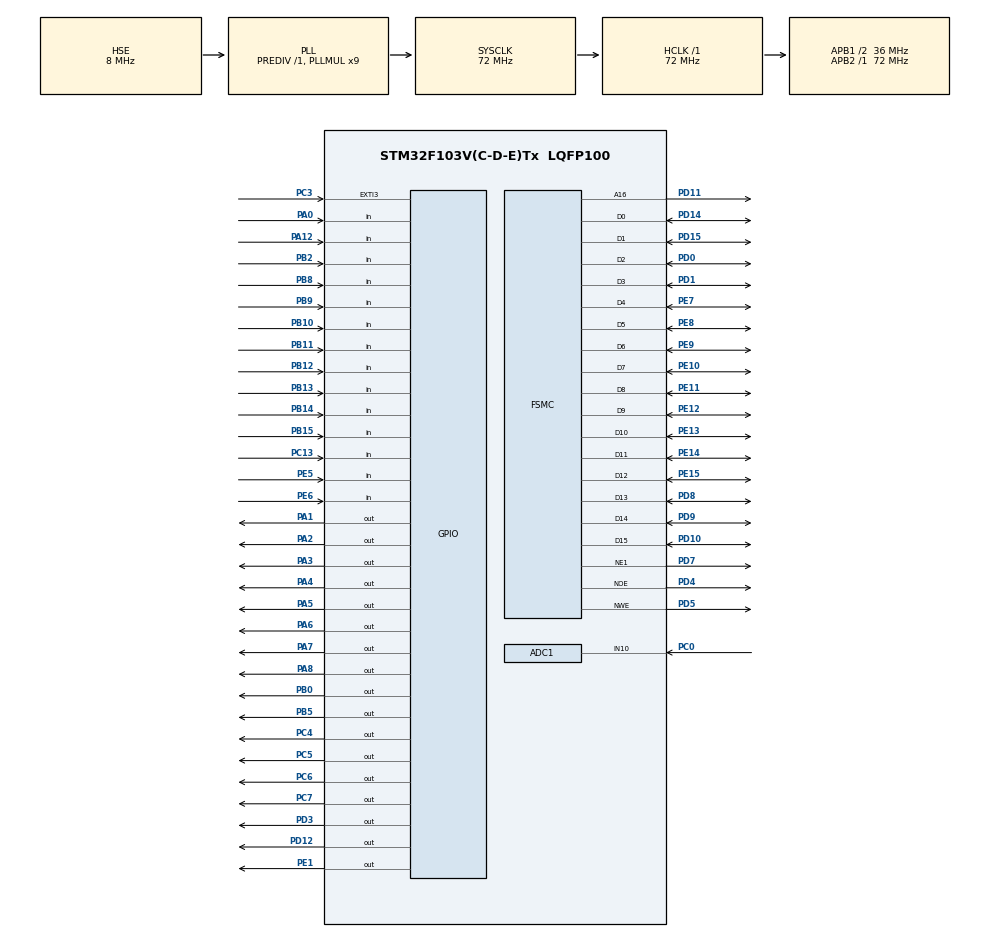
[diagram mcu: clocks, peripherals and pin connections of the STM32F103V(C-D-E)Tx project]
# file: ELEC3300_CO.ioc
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ADC1.AWD1HighThreshold=2000
ADC1.AWD1ITMode=ENABLE
ADC1.Channel-0\#ChannelRegularConversion=ADC_CHANNEL_10
ADC1.ContinuousConvMode=ENABLE
ADC1.EnableAnalogWatchDog=true
ADC1.NbrOfConversionFlag=1
ADC1.Rank-0\#ChannelRegularConversion=1
ADC1.SamplingTime-0\#ChannelRegularConversion=ADC_SAMPLETIME_55CYCLES_5
ADC1.WatchdogChannel=ADC_CHANNEL_10
ADC1.master=1
Mcu.Family=STM32F1
Mcu.Name=STM32F103V(C-D-E)Tx
Mcu.Package=LQFP100
NVIC.ADC1_2_IRQn=true\:0\:0\:false\:false\:true\:true\:true
NVIC.EXTI3_IRQn=true\:0\:0\:false\:false\:true\:true\:true
NVIC.PriorityGroup=NVIC_PRIORITYGROUP_4
OSC_IN.Mode=HSE-External-Oscillator
OSC_IN.Signal=RCC_OSC_IN
OSC_OUT.Mode=HSE-External-Oscillator
OSC_OUT.Signal=RCC_OSC_OUT
PA0-WKUP.Signal=GPIO_Input
PA1.Signal=GPIO_Output
PA12.GPIO_PuPd=GPIO_PULLUP
PA12.Signal=GPIO_Input
PA13.Mode=Serial_Wire
PA13.Signal=SYS_JTMS-SWDIO
PA14.Mode=Serial_Wire
PA14.Signal=SYS_JTCK-SWCLK
PA2.GPIO_Speed=GPIO_SPEED_FREQ_HIGH
PA2.Signal=GPIO_Output
PA3.GPIO_Speed=GPIO_SPEED_FREQ_HIGH
PA3.Signal=GPIO_Output
PA4.Signal=GPIO_Output
PA5.Signal=GPIO_Output
PA6.Signal=GPIO_Output
PA7.Signal=GPIO_Output
PA8.Signal=GPIO_Output
PB0.GPIO_Speed=GPIO_SPEED_FREQ_HIGH
PB0.Signal=GPIO_Output
PB10.Signal=GPIO_Input
PB11.Signal=GPIO_Input
PB12.Signal=GPIO_Input
PB13.Signal=GPIO_Input
PB14.Signal=GPIO_Input
PB15.Signal=GPIO_Input
PB2.GPIO_PuPd=GPIO_PULLUP
PB2.Signal=GPIO_Input
PB5.GPIO_Speed=GPIO_SPEED_FREQ_HIGH
PB5.Signal=GPIO_Output
PB8.Signal=GPIO_Input
PB9.Signal=GPIO_Input
PC0.Signal=ADCx_IN10
PC13-TAMPER-RTC.GPIO_PuPd=GPIO_NOPULL
PC13-TAMPER-RTC.Signal=GPIO_Input
PC14-OSC32_IN.Mode=LSE-External-Oscillator
PC14-OSC32_IN.Signal=RCC_OSC32_IN
PC15-OSC32_OUT.Mode=LSE-External-Oscillator
PC15-OSC32_OUT.Signal=RCC_OSC32_OUT
PC3.GPIO_ModeDefaultEXTI=GPIO_MODE_IT_FALLING
PC3.Signal=GPXTI3
PC4.GPIO_Speed=GPIO_SPEED_FREQ_HIGH
PC4.Signal=GPIO_Output
PC5.GPIO_Speed=GPIO_SPEED_FREQ_HIGH
PC5.Signal=GPIO_Output
PC6.GPIO_ModeDefaultOutputPP=GPIO_MODE_OUTPUT_OD
PC6.GPIO_PuPd=GPIO_NOPULL
PC6.GPIO_Speed=GPIO_SPEED_FREQ_HIGH
PC6.Signal=GPIO_Output
PC7.GPIO_ModeDefaultOutputPP=GPIO_MODE_OUTPUT_OD
PC7.GPIO_Speed=GPIO_SPEED_FREQ_HIGH
PC7.Signal=GPIO_Output
PD0.Mode=16b-d1
PD0.Signal=FSMC_D2
PD1.Mode=16b-d1
PD1.Signal=FSMC_D3
PD10.Mode=16b-d1
PD10.Signal=FSMC_D15
PD11.Mode=A16_1
PD11.Signal=FSMC_A16
PD12.GPIO_Speed=GPIO_SPEED_FREQ_HIGH
PD12.PinState=GPIO_PIN_RESET
PD12.Signal=GPIO_Output
PD14.Mode=16b-d1
PD14.Signal=FSMC_D0
PD15.Mode=16b-d1
PD15.Signal=FSMC_D1
PD3.GPIO_Speed=GPIO_SPEED_FREQ_HIGH
PD3.Signal=GPIO_Output
PD4.Mode=Lcd1
PD4.Signal=FSMC_NOE
PD5.Mode=Lcd1
PD5.Signal=FSMC_NWE
PD7.Mode=NorPsramChipSelect1_1
PD7.Signal=FSMC_NE1
PD8.Mode=16b-d1
PD8.Signal=FSMC_D13
PD9.Mode=16b-d1
PD9.Signal=FSMC_D14
PE1.GPIO_Speed=GPIO_SPEED_FREQ_HIGH
PE1.PinState=GPIO_PIN_RESET
PE1.Signal=GPIO_Output
PE10.Mode=16b-d1
PE10.Signal=FSMC_D7
PE11.Mode=16b-d1
PE11.Signal=FSMC_D8
PE12.Mode=16b-d1
PE12.Signal=FSMC_D9
PE13.Mode=16b-d1
PE13.Signal=FSMC_D10
PE14.Mode=16b-d1
PE14.Signal=FSMC_D11
PE15.Mode=16b-d1
PE15.Signal=FSMC_D12
PE5.GPIO_PuPd=GPIO_PULLUP
PE5.Signal=GPIO_Input
PE6.GPIO_PuPd=GPIO_PULLUP
PE6.Signal=GPIO_Input
PE7.Mode=16b-d1
PE7.Signal=FSMC_D4
PE8.Mode=16b-d1
PE8.Signal=FSMC_D5
PE9.Mode=16b-d1
PE9.Signal=FSMC_D6
ProjectManager.HeapSize=0x200
ProjectManager.StackSize=0x400
ProjectManager.TargetToolchain=MDK-ARM V5.32
RCC.ADCPresc=RCC_ADCPCLK2_DIV6
RCC.AHBFreq_Value=72000000
RCC.APB1CLKDivider=RCC_HCLK_DIV2
RCC.APB1Freq_Value=36000000
RCC.APB1TimFreq_Value=72000000
RCC.APB2Freq_Value=72000000
RCC.APB2TimFreq_Value=72000000
RCC.HCLKFreq_Value=72000000
RCC.PLLMUL=RCC_PLL_MUL9
RCC.PLLSourceVirtual=RCC_PLLSOURCE_HSE
RCC.SYSCLKFreq_VALUE=72000000
RCC.SYSCLKSource=RCC_SYSCLKSOURCE_PLLCLK
RCC.USBFreq_Value=72000000
SH.ADCx_IN10.0=ADC1_IN10,IN10
board=custom

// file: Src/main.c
/* USER CODE BEGIN Header */
/**
  ******************************************************************************
  * @file           : main.c
  * @brief          : Main program body
  ******************************************************************************
  * @attention
  *
  * <h2><center>&copy; Copyright (c) 2022 STMicroelectronics.
  * All rights reserved.</center></h2>
  *
  * This software component is licensed by ST under BSD 3-Clause license,
  * the "License"; You may not use this file except in compliance with the
  * License. You may obtain a copy of the License at:
  *                        opensource.org/licenses/BSD-3-Clause
  *
  ******************************************************************************
  */
/* USER CODE END Header */

#include "main.h"

/* USER CODE BEGIN Includes */
#include "lcd_own.h"
#include "stdio.h"
#include <math.h>
#include "string.h"
#include "own_define_functions.h"
/* USER CODE END Includes */

ADC_HandleTypeDef hadc1;

SRAM_HandleTypeDef hsram1;

void SystemClock_Config(void);
static void MX_GPIO_Init(void);
static void MX_FSMC_Init(void);
static void MX_ADC1_Init(void);
/* USER CODE BEGIN PFP */
//uint32_t air_sensor_val, co_sensor_val;
//float air_sensor_volt, co_sensor_volt;
//float RS_gas_clean, RS_gas_co;
//float R0, ratio;
//float x;
//int ppm;

/* USER CODE END PFP */

/* USER CODE BEGIN 0 */
/*void COsensor_INIT(float* R0){
	//HAL_Delay(60000); //warm up the sensor
	uint32_t air_sensor_val = HAL_ADC_GetValue(&hadc1);
	float air_sensor_volt = (float)(air_sensor_val/1024.0);
	float RS_gas_clean = ((5.0 /air_sensor_volt) - 1)*10000;
	*R0 = RS_gas_clean / 25.75;
};

int CO_ppm(float* R0){
	uint32_t co_sensor_val = HAL_ADC_GetValue(&hadc1);
	float co_sensor_volt = (float)(co_sensor_val/1024.0);
	float RS_gas_co = (5.0-co_sensor_volt)/co_sensor_volt;
	float ratio = RS_gas_co / *R0;
	float x = 44444*ratio;
	int ppm = pow(x,-1.5226)*1000;
	return ppm;
};*/
//float R0;
/* USER CODE END 0 */

int main(void)
{

  /* MCU Configuration--------------------------------------------------------*/

  /* Reset of all peripherals, Initializes the Flash interface and the Systick. */
  HAL_Init();

  /* Configure the system clock */
  SystemClock_Config();

  /* Initialize all configured peripherals */
  MX_GPIO_Init();
  MX_FSMC_Init();
  MX_ADC1_Init();
  /* USER CODE BEGIN 2 */
	LCD_INIT();
	HAL_ADCEx_Calibration_Start(&hadc1);
	HAL_ADC_Start(&hadc1);
	HAL_ADC_PollForConversion(&hadc1, 1000);

  /* USER CODE END 2 */

  /* Infinite loop */
  /* USER CODE BEGIN WHILE */
	HAL_GPIO_WritePin(GPIOB, GPIO_PIN_0,GPIO_PIN_SET); // lights off
	HAL_GPIO_WritePin(GPIOB, GPIO_PIN_5,GPIO_PIN_SET);

	HAL_Delay(3000);
	COsensor_INIT(&R0);
  while (1)
  {
		LCD_DrawString(10,100, "Ready");
		HAL_Delay(500);

    /* USER CODE END WHILE */

  }
}

void SystemClock_Config(void)
{
  RCC_OscInitTypeDef RCC_OscInitStruct = {0};
  RCC_ClkInitTypeDef RCC_ClkInitStruct = {0};
  RCC_PeriphCLKInitTypeDef PeriphClkInit = {0};

  /** Initializes the CPU, AHB and APB busses clocks
  */
  RCC_OscInitStruct.OscillatorType = RCC_OSCILLATORTYPE_HSE;
  RCC_OscInitStruct.HSEState = RCC_HSE_ON;
  RCC_OscInitStruct.HSEPredivValue = RCC_HSE_PREDIV_DIV1;
  RCC_OscInitStruct.HSIState = RCC_HSI_ON;
  RCC_OscInitStruct.PLL.PLLState = RCC_PLL_ON;
  RCC_OscInitStruct.PLL.PLLSource = RCC_PLLSOURCE_HSE;
  RCC_OscInitStruct.PLL.PLLMUL = RCC_PLL_MUL9;
  if (HAL_RCC_OscConfig(&RCC_OscInitStruct) != HAL_OK)
  {
    Error_Handler();
  }
  /** Initializes the CPU, AHB and APB busses clocks
  */
  RCC_ClkInitStruct.ClockType = RCC_CLOCKTYPE_HCLK|RCC_CLOCKTYPE_SYSCLK
                              |RCC_CLOCKTYPE_PCLK1|RCC_CLOCKTYPE_PCLK2;
  RCC_ClkInitStruct.SYSCLKSource = RCC_SYSCLKSOURCE_PLLCLK;
  RCC_ClkInitStruct.AHBCLKDivider = RCC_SYSCLK_DIV1;
  RCC_ClkInitStruct.APB1CLKDivider = RCC_HCLK_DIV2;
  RCC_ClkInitStruct.APB2CLKDivider = RCC_HCLK_DIV1;

  if (HAL_RCC_ClockConfig(&RCC_ClkInitStruct, FLASH_LATENCY_2) != HAL_OK)
  {
    Error_Handler();
  }
  PeriphClkInit.PeriphClockSelection = RCC_PERIPHCLK_ADC;
  PeriphClkInit.AdcClockSelection = RCC_ADCPCLK2_DIV6;
  if (HAL_RCCEx_PeriphCLKConfig(&PeriphClkInit) != HAL_OK)
  {
    Error_Handler();
  }
}

static void MX_ADC1_Init(void)
{

  ADC_AnalogWDGConfTypeDef AnalogWDGConfig = {0};
  ADC_ChannelConfTypeDef sConfig = {0};

  /** Common config
  */
  hadc1.Instance = ADC1;
  hadc1.Init.ScanConvMode = ADC_SCAN_DISABLE;
  hadc1.Init.ContinuousConvMode = ENABLE;
  hadc1.Init.DiscontinuousConvMode = DISABLE;
  hadc1.Init.ExternalTrigConv = ADC_SOFTWARE_START;
  hadc1.Init.DataAlign = ADC_DATAALIGN_RIGHT;
  hadc1.Init.NbrOfConversion = 1;
  if (HAL_ADC_Init(&hadc1) != HAL_OK)
  {
    Error_Handler();
  }
  /** Configure Analog WatchDog 1
  */
  AnalogWDGConfig.WatchdogMode = ADC_ANALOGWATCHDOG_SINGLE_REG;
  AnalogWDGConfig.HighThreshold = 2500;
  AnalogWDGConfig.LowThreshold = 0;
  AnalogWDGConfig.Channel = ADC_CHANNEL_10;
  AnalogWDGConfig.ITMode = ENABLE;
  if (HAL_ADC_AnalogWDGConfig(&hadc1, &AnalogWDGConfig) != HAL_OK)
  {
    Error_Handler();
  }
  /** Configure Regular Channel
  */
  sConfig.Channel = ADC_CHANNEL_10;
  sConfig.Rank = ADC_REGULAR_RANK_1;
  sConfig.SamplingTime = ADC_SAMPLETIME_55CYCLES_5;
  if (HAL_ADC_ConfigChannel(&hadc1, &sConfig) != HAL_OK)
  {
    Error_Handler();
  }

}

static void MX_GPIO_Init(void)
{
  GPIO_InitTypeDef GPIO_InitStruct = {0};

  /* GPIO Ports Clock Enable */
  __HAL_RCC_GPIOE_CLK_ENABLE();
  __HAL_RCC_GPIOC_CLK_ENABLE();
  __HAL_RCC_GPIOA_CLK_ENABLE();
  __HAL_RCC_GPIOB_CLK_ENABLE();
  __HAL_RCC_GPIOD_CLK_ENABLE();

  /*Configure GPIO pin Output Level */
  HAL_GPIO_WritePin(GPIOA, GPIO_PIN_1|GPIO_PIN_2|GPIO_PIN_3|GPIO_PIN_4
                          |GPIO_PIN_5|GPIO_PIN_6|GPIO_PIN_7|GPIO_PIN_8, GPIO_PIN_RESET);

  /*Configure GPIO pin Output Level */
  HAL_GPIO_WritePin(GPIOC, GPIO_PIN_4|GPIO_PIN_5|GPIO_PIN_6|GPIO_PIN_7, GPIO_PIN_RESET);

  /*Configure GPIO pin Output Level */
  HAL_GPIO_WritePin(GPIOB, GPIO_PIN_0|GPIO_PIN_5, GPIO_PIN_RESET);

  /*Configure GPIO pin Output Level */
  HAL_GPIO_WritePin(GPIOD, GPIO_PIN_12|GPIO_PIN_3, GPIO_PIN_RESET);

  /*Configure GPIO pin Output Level */
  HAL_GPIO_WritePin(GPIOE, GPIO_PIN_1, GPIO_PIN_RESET);

  /*Configure GPIO pins : PE5 PE6 */
  GPIO_InitStruct.Pin = GPIO_PIN_5|GPIO_PIN_6;
  GPIO_InitStruct.Mode = GPIO_MODE_INPUT;
  GPIO_InitStruct.Pull = GPIO_PULLUP;
  HAL_GPIO_Init(GPIOE, &GPIO_InitStruct);

  /*Configure GPIO pin : PC13 */
  GPIO_InitStruct.Pin = GPIO_PIN_13;
  GPIO_InitStruct.Mode = GPIO_MODE_INPUT;
  GPIO_InitStruct.Pull = GPIO_NOPULL;
  HAL_GPIO_Init(GPIOC, &GPIO_InitStruct);

  /*Configure GPIO pin : PC3 */
  GPIO_InitStruct.Pin = GPIO_PIN_3;
  GPIO_InitStruct.Mode = GPIO_MODE_IT_FALLING;
  GPIO_InitStruct.Pull = GPIO_NOPULL;
  HAL_GPIO_Init(GPIOC, &GPIO_InitStruct);

  /*Configure GPIO pin : PA0 */
  GPIO_InitStruct.Pin = GPIO_PIN_0;
  GPIO_InitStruct.Mode = GPIO_MODE_INPUT;
  GPIO_InitStruct.Pull = GPIO_NOPULL;
  HAL_GPIO_Init(GPIOA, &GPIO_InitStruct);

  /*Configure GPIO pins : PA1 PA4 PA5 PA6
                           PA7 PA8 */
  GPIO_InitStruct.Pin = GPIO_PIN_1|GPIO_PIN_4|GPIO_PIN_5|GPIO_PIN_6
                          |GPIO_PIN_7|GPIO_PIN_8;
  GPIO_InitStruct.Mode = GPIO_MODE_OUTPUT_PP;
  GPIO_InitStruct.Pull = GPIO_NOPULL;
  GPIO_InitStruct.Speed = GPIO_SPEED_FREQ_LOW;
  HAL_GPIO_Init(GPIOA, &GPIO_InitStruct);

  /*Configure GPIO pins : PA2 PA3 */
  GPIO_InitStruct.Pin = GPIO_PIN_2|GPIO_PIN_3;
  GPIO_InitStruct.Mode = GPIO_MODE_OUTPUT_PP;
  GPIO_InitStruct.Pull = GPIO_NOPULL;
  GPIO_InitStruct.Speed = GPIO_SPEED_FREQ_HIGH;
  HAL_GPIO_Init(GPIOA, &GPIO_InitStruct);

  /*Configure GPIO pins : PC4 PC5 */
  GPIO_InitStruct.Pin = GPIO_PIN_4|GPIO_PIN_5;
  GPIO_InitStruct.Mode = GPIO_MODE_OUTPUT_PP;
  GPIO_InitStruct.Pull = GPIO_NOPULL;
  GPIO_InitStruct.Speed = GPIO_SPEED_FREQ_HIGH;
  HAL_GPIO_Init(GPIOC, &GPIO_InitStruct);

  /*Configure GPIO pins : PB0 PB5 */
  GPIO_InitStruct.Pin = GPIO_PIN_0|GPIO_PIN_5;
  GPIO_InitStruct.Mode = GPIO_MODE_OUTPUT_PP;
  GPIO_InitStruct.Pull = GPIO_NOPULL;
  GPIO_InitStruct.Speed = GPIO_SPEED_FREQ_HIGH;
  HAL_GPIO_Init(GPIOB, &GPIO_InitStruct);

  /*Configure GPIO pin : PB2 */
  GPIO_InitStruct.Pin = GPIO_PIN_2;
  GPIO_InitStruct.Mode = GPIO_MODE_INPUT;
  GPIO_InitStruct.Pull = GPIO_PULLUP;
  HAL_GPIO_Init(GPIOB, &GPIO_InitStruct);

  /*Configure GPIO pins : PB10 PB11 PB12 PB13
                           PB14 PB15 PB8 PB9 */
  GPIO_InitStruct.Pin = GPIO_PIN_10|GPIO_PIN_11|GPIO_PIN_12|GPIO_PIN_13
                          |GPIO_PIN_14|GPIO_PIN_15|GPIO_PIN_8|GPIO_PIN_9;
  GPIO_InitStruct.Mode = GPIO_MODE_INPUT;
  GPIO_InitStruct.Pull = GPIO_NOPULL;
  HAL_GPIO_Init(GPIOB, &GPIO_InitStruct);

  /*Configure GPIO pins : PD12 PD3 */
  GPIO_InitStruct.Pin = GPIO_PIN_12|GPIO_PIN_3;
  GPIO_InitStruct.Mode = GPIO_MODE_OUTPUT_PP;
  GPIO_InitStruct.Pull = GPIO_NOPULL;
  GPIO_InitStruct.Speed = GPIO_SPEED_FREQ_HIGH;
  HAL_GPIO_Init(GPIOD, &GPIO_InitStruct);

  /*Configure GPIO pins : PC6 PC7 */
  GPIO_InitStruct.Pin = GPIO_PIN_6|GPIO_PIN_7;
  GPIO_InitStruct.Mode = GPIO_MODE_OUTPUT_OD;
  GPIO_InitStruct.Pull = GPIO_NOPULL;
  GPIO_InitStruct.Speed = GPIO_SPEED_FREQ_HIGH;
  HAL_GPIO_Init(GPIOC, &GPIO_InitStruct);

  /*Configure GPIO pin : PA12 */
  GPIO_InitStruct.Pin = GPIO_PIN_12;
  GPIO_InitStruct.Mode = GPIO_MODE_INPUT;
  GPIO_InitStruct.Pull = GPIO_PULLUP;
  HAL_GPIO_Init(GPIOA, &GPIO_InitStruct);

  /*Configure GPIO pin : PE1 */
  GPIO_InitStruct.Pin = GPIO_PIN_1;
  GPIO_InitStruct.Mode = GPIO_MODE_OUTPUT_PP;
  GPIO_InitStruct.Pull = GPIO_NOPULL;
  GPIO_InitStruct.Speed = GPIO_SPEED_FREQ_HIGH;
  HAL_GPIO_Init(GPIOE, &GPIO_InitStruct);

  /* EXTI interrupt init*/
  HAL_NVIC_SetPriority(EXTI3_IRQn, 0, 0);
  HAL_NVIC_EnableIRQ(EXTI3_IRQn);

}

/* FSMC initialization function */
static void MX_FSMC_Init(void)
{

  FSMC_NORSRAM_TimingTypeDef Timing = {0};

  /** Perform the SRAM1 memory initialization sequence
  */
  hsram1.Instance = FSMC_NORSRAM_DEVICE;
  hsram1.Extended = FSMC_NORSRAM_EXTENDED_DEVICE;
  /* hsram1.Init */
  hsram1.Init.NSBank = FSMC_NORSRAM_BANK1;
  hsram1.Init.DataAddressMux = FSMC_DATA_ADDRESS_MUX_DISABLE;
  hsram1.Init.MemoryType = FSMC_MEMORY_TYPE_SRAM;
  hsram1.Init.MemoryDataWidth = FSMC_NORSRAM_MEM_BUS_WIDTH_16;
  hsram1.Init.BurstAccessMode = FSMC_BURST_ACCESS_MODE_DISABLE;
  hsram1.Init.WaitSignalPolarity = FSMC_WAIT_SIGNAL_POLARITY_LOW;
  hsram1.Init.WrapMode = FSMC_WRAP_MODE_DISABLE;
  hsram1.Init.WaitSignalActive = FSMC_WAIT_TIMING_BEFORE_WS;
  hsram1.Init.WriteOperation = FSMC_WRITE_OPERATION_ENABLE;
  hsram1.Init.WaitSignal = FSMC_WAIT_SIGNAL_DISABLE;
  hsram1.Init.ExtendedMode = FSMC_EXTENDED_MODE_DISABLE;
  hsram1.Init.AsynchronousWait = FSMC_ASYNCHRONOUS_WAIT_DISABLE;
  hsram1.Init.WriteBurst = FSMC_WRITE_BURST_DISABLE;
  /* Timing */
  Timing.AddressSetupTime = 15;
  Timing.AddressHoldTime = 15;
  Timing.DataSetupTime = 255;
  Timing.BusTurnAroundDuration = 15;
  Timing.CLKDivision = 16;
  Timing.DataLatency = 17;
  Timing.AccessMode = FSMC_ACCESS_MODE_A;
  /* ExtTiming */

  if (HAL_SRAM_Init(&hsram1, &Timing, NULL) != HAL_OK)
  {
    Error_Handler( );
  }

  /** Disconnect NADV
  */

  __HAL_AFIO_FSMCNADV_DISCONNECTED();

}

void Error_Handler(void)
{
}

/************************ (C) COPYRIGHT STMicroelectronics *****END OF FILE****/
